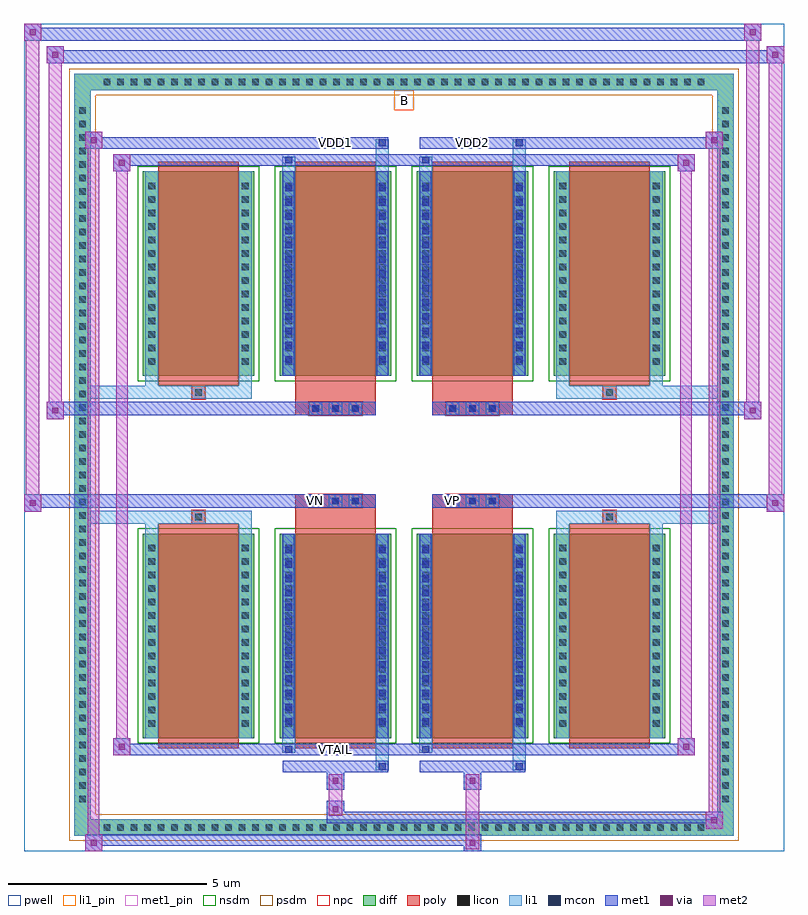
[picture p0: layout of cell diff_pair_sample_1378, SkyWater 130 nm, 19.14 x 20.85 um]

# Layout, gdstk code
import gdstk
lib = gdstk.Library(unit=1e-6, precision=5e-09)
def R(c, l, rs):  # rectangles x0, y0, x1, y1
    for r in rs: c.add(gdstk.rectangle(r[:2], r[2:], *l))
def A(c, l, x, y, w, h, nx, ny, dx, dy):  # array of equal rectangles
    R(c, l, [(x+i*dx, y+j*dy, x+i*dx+w, y+j*dy+h) for i in range(nx) for j in range(ny)])
def P(c, l, *ps):  # polygons
    for p in ps: c.add(gdstk.Polygon(p, *l))
pwell = (64, 44)
diff = (65, 20)
poly = (66, 20)
licon = (66, 44)
li1_pin = (67, 16)
li1 = (67, 20)
mcon = (67, 44)
met1_pin = (68, 16)
met1 = (68, 20)
via = (68, 44)
met2 = (69, 20)
nsdm = (93, 44)
psdm = (94, 20)
npc = (95, 20)

diff_pair_sample_1378 = lib.new_cell('diff_pair_sample_1378')
R(diff_pair_sample_1378, pwell, [(-9.57,-9.99,9.57,10.86), (-6.89,-8.18,-0.01,-0.8), (0.01,-8.18,6.89,-0.8), (-6.89,0.8,-0.01,8.18), (0.01,0.8,6.89,8.18)])
A(diff_pair_sample_1378, diff, -7.685, -9.59, 0.41, 0.41, 45, 2, 0.34, 18.77)
A(diff_pair_sample_1378, diff, -8.3, -8.875, 0.41, 0.41, 1, 52, 0, 0.34)
A(diff_pair_sample_1378, diff, 7.89, -8.875, 0.41, 0.41, 1, 52, 0, 0.34)
A(diff_pair_sample_1378, diff, -6.58, -7.135, 2.81, 5.15, 4, 2, 3.45, 9.12)
R(diff_pair_sample_1378, diff, [(-7.685,-9.59,7.685,-9.18), (-8.3,-8.875,-7.89,8.875), (7.89,-8.875,8.3,8.875), (-7.685,9.18,7.685,9.59)])
P(diff_pair_sample_1378, diff, [(8.3,9.59),(-8.3,9.59),(-8.3,-9.18),(-7.89,-9.18),(-7.89,9.18),(7.89,9.18),(7.89,-9.18),(-7.89,-9.18),(-8.3,-9.18),(-8.3,-9.59),(8.3,-9.59)])
A(diff_pair_sample_1378, poly, -6.19, -7.385, 2.03, 5.65, 4, 2, 3.45, 9.12)
A(diff_pair_sample_1378, poly, -2.39, -1.33, 0.33, 0.33, 3, 2, 0.5, 2.33)
A(diff_pair_sample_1378, poly, 1.06, -1.33, 0.33, 0.33, 3, 2, 0.5, 2.33)
R(diff_pair_sample_1378, poly, [(-5.34,-1.735,-5.01,-1.405), (-5.34,-1.735,-5.01,-1.405), (-2.74,-1.735,-0.71,-1.33), (0.71,-1.735,2.74,-1.33), (5.01,-1.735,5.34,-1.405), (5.01,-1.735,5.34,-1.405), (-2.74,-1.33,-0.71,-1), (0.71,-1.33,2.74,-1), (-2.74,1,-0.71,1.33), (0.71,1,2.74,1.33), (-2.74,1.33,-0.71,1.735), (0.71,1.33,2.74,1.735), (-5.34,1.405,-5.01,1.735), (-5.34,1.405,-5.01,1.735), (5.01,1.405,5.34,1.735), (5.01,1.405,5.34,1.735)])
A(diff_pair_sample_1378, licon, -7.565, -9.47, 0.17, 0.17, 45, 2, 0.34, 18.77)
A(diff_pair_sample_1378, licon, -8.18, -8.755, 0.17, 0.17, 1, 52, 0, 0.34)
A(diff_pair_sample_1378, licon, 8.01, -8.755, 0.17, 0.17, 1, 52, 0, 0.34)
A(diff_pair_sample_1378, licon, -6.44, -6.855, 0.17, 0.17, 1, 14, 0, 0.34)
A(diff_pair_sample_1378, licon, -4.08, -6.855, 0.17, 0.17, 1, 14, 0, 0.34)
A(diff_pair_sample_1378, licon, -2.99, -6.855, 0.17, 0.17, 1, 14, 0, 0.34)
A(diff_pair_sample_1378, licon, -0.63, -6.855, 0.17, 0.17, 1, 14, 0, 0.34)
A(diff_pair_sample_1378, licon, 0.46, -6.855, 0.17, 0.17, 1, 14, 0, 0.34)
A(diff_pair_sample_1378, licon, 2.82, -6.855, 0.17, 0.17, 1, 14, 0, 0.34)
A(diff_pair_sample_1378, licon, 3.91, -6.855, 0.17, 0.17, 1, 14, 0, 0.34)
A(diff_pair_sample_1378, licon, 6.27, -6.855, 0.17, 0.17, 1, 14, 0, 0.34)
A(diff_pair_sample_1378, licon, -2.31, -1.25, 0.17, 0.17, 3, 2, 0.5, 2.33)
A(diff_pair_sample_1378, licon, 1.14, -1.25, 0.17, 0.17, 3, 2, 0.5, 2.33)
A(diff_pair_sample_1378, licon, -6.44, 2.265, 0.17, 0.17, 1, 14, 0, 0.34)
A(diff_pair_sample_1378, licon, -4.08, 2.265, 0.17, 0.17, 1, 14, 0, 0.34)
A(diff_pair_sample_1378, licon, -2.99, 2.265, 0.17, 0.17, 1, 14, 0, 0.34)
A(diff_pair_sample_1378, licon, -0.63, 2.265, 0.17, 0.17, 1, 14, 0, 0.34)
A(diff_pair_sample_1378, licon, 0.46, 2.265, 0.17, 0.17, 1, 14, 0, 0.34)
A(diff_pair_sample_1378, licon, 2.82, 2.265, 0.17, 0.17, 1, 14, 0, 0.34)
A(diff_pair_sample_1378, licon, 3.91, 2.265, 0.17, 0.17, 1, 14, 0, 0.34)
A(diff_pair_sample_1378, licon, 6.27, 2.265, 0.17, 0.17, 1, 14, 0, 0.34)
R(diff_pair_sample_1378, licon, [(-5.26,-1.655,-5.09,-1.485), (5.09,-1.655,5.26,-1.485), (-5.26,1.485,-5.09,1.655), (5.09,1.485,5.26,1.655)])
R(diff_pair_sample_1378, li1_pin, [(-0.25,8.68,0.25,9.18)])
A(diff_pair_sample_1378, li1, -7.645, -9.55, 0.33, 0.33, 45, 2, 0.34, 18.77)
A(diff_pair_sample_1378, li1, -8.26, -8.835, 0.33, 0.33, 1, 52, 0, 0.34)
A(diff_pair_sample_1378, li1, 7.93, -8.835, 0.33, 0.33, 1, 52, 0, 0.34)
A(diff_pair_sample_1378, li1, -6.52, -6.935, 0.33, 0.33, 1, 14, 0, 0.34)
A(diff_pair_sample_1378, li1, -4.16, -6.935, 0.33, 0.33, 1, 14, 0, 0.34)
A(diff_pair_sample_1378, li1, -3.07, -6.935, 0.33, 0.33, 1, 14, 0, 0.34)
A(diff_pair_sample_1378, li1, -0.71, -6.935, 0.33, 0.33, 1, 14, 0, 0.34)
A(diff_pair_sample_1378, li1, 0.38, -6.935, 0.33, 0.33, 1, 14, 0, 0.34)
A(diff_pair_sample_1378, li1, 2.74, -6.935, 0.33, 0.33, 1, 14, 0, 0.34)
A(diff_pair_sample_1378, li1, 3.83, -6.935, 0.33, 0.33, 1, 14, 0, 0.34)
A(diff_pair_sample_1378, li1, 6.19, -6.935, 0.33, 0.33, 1, 14, 0, 0.34)
A(diff_pair_sample_1378, li1, -2.99, -6.805, 0.17, 0.17, 1, 13, 0, 0.36)
A(diff_pair_sample_1378, li1, -0.63, -6.805, 0.17, 0.17, 1, 13, 0, 0.36)
A(diff_pair_sample_1378, li1, 0.46, -6.805, 0.17, 0.17, 1, 13, 0, 0.36)
A(diff_pair_sample_1378, li1, 2.82, -6.805, 0.17, 0.17, 1, 13, 0, 0.36)
A(diff_pair_sample_1378, li1, -2.39, -1.33, 0.33, 0.33, 3, 2, 0.5, 2.33)
A(diff_pair_sample_1378, li1, 1.06, -1.33, 0.33, 0.33, 3, 2, 0.5, 2.33)
A(diff_pair_sample_1378, li1, -6.52, 2.185, 0.33, 0.33, 1, 14, 0, 0.34)
A(diff_pair_sample_1378, li1, -4.16, 2.185, 0.33, 0.33, 1, 14, 0, 0.34)
A(diff_pair_sample_1378, li1, -3.07, 2.185, 0.33, 0.33, 1, 14, 0, 0.34)
A(diff_pair_sample_1378, li1, -0.71, 2.185, 0.33, 0.33, 1, 14, 0, 0.34)
A(diff_pair_sample_1378, li1, 0.38, 2.185, 0.33, 0.33, 1, 14, 0, 0.34)
A(diff_pair_sample_1378, li1, 2.74, 2.185, 0.33, 0.33, 1, 14, 0, 0.34)
A(diff_pair_sample_1378, li1, 3.83, 2.185, 0.33, 0.33, 1, 14, 0, 0.34)
A(diff_pair_sample_1378, li1, 6.19, 2.185, 0.33, 0.33, 1, 14, 0, 0.34)
A(diff_pair_sample_1378, li1, -2.99, 2.315, 0.17, 0.17, 1, 13, 0, 0.36)
A(diff_pair_sample_1378, li1, -0.63, 2.315, 0.17, 0.17, 1, 13, 0, 0.36)
A(diff_pair_sample_1378, li1, 0.46, 2.315, 0.17, 0.17, 1, 13, 0, 0.36)
A(diff_pair_sample_1378, li1, 2.82, 2.315, 0.17, 0.17, 1, 13, 0, 0.36)
R(diff_pair_sample_1378, li1, [(-8.3,-9.59,-7.89,-9.18), (-8.3,-9.59,-7.89,-9.18), (-7.89,-9.59,7.89,-9.18), (7.89,-9.59,8.3,-9.18), (7.89,-9.59,8.3,-9.18), (-8.3,-9.18,-7.89,9.18), (7.89,-9.18,8.3,9.18), (-0.71,-7.94,-0.38,-7.135), (-0.63,-7.94,-0.46,-7.77), (2.74,-7.94,3.07,-7.135), (2.82,-7.94,2.99,-7.77), (-3.07,-7.51,-2.74,-7.135), (-2.99,-7.51,-2.82,-7.34), (0.38,-7.51,0.71,-7.135), (0.46,-7.51,0.63,-7.34), (-6.52,-7.135,-6.19,-1.985), (-4.16,-7.135,-3.83,-1.985), (-3.07,-7.135,-2.74,-1.985), (-0.71,-7.135,-0.38,-1.985), (0.38,-7.135,0.71,-1.985), (2.74,-7.135,3.07,-1.985), (3.83,-7.135,4.16,-1.985), (6.19,-7.135,6.52,-1.985), (-2.99,-6.805,-2.82,-2.315), (-0.63,-6.805,-0.46,-2.315), (0.46,-6.805,0.63,-2.315), (2.82,-6.805,2.99,-2.315), (-6.52,-1.985,-6.19,-1.405), (-4.16,-1.985,-3.83,-1.405), (3.83,-1.985,4.16,-1.405), (6.19,-1.985,6.52,-1.405), (-8.3,-1.735,-5.34,-1.405), (-6.52,-1.735,-5.34,-1.405), (-5.34,-1.735,-5.01,-1.405), (-5.01,-1.735,-3.83,-1.405), (3.83,-1.735,5.01,-1.405), (5.01,-1.735,5.34,-1.405), (5.01,-1.735,8.3,-1.405), (5.34,-1.735,6.52,-1.405), (-8.3,1.405,-5.34,1.735), (-6.52,1.405,-5.34,1.735), (-6.52,1.405,-6.19,1.985), (-5.34,1.405,-5.01,1.735), (-5.01,1.405,-3.83,1.735), (-4.16,1.405,-3.83,1.985), (3.83,1.405,5.01,1.735), (3.83,1.405,4.16,1.985), (5.01,1.405,5.34,1.735), (5.01,1.405,8.3,1.735), (5.34,1.405,6.52,1.735), (6.19,1.405,6.52,1.985), (-6.52,1.985,-6.19,7.135), (-4.16,1.985,-3.83,7.135), (-3.07,1.985,-2.74,7.135), (-0.71,1.985,-0.38,7.135), (0.38,1.985,0.71,7.135), (2.74,1.985,3.07,7.135), (3.83,1.985,4.16,7.135), (6.19,1.985,6.52,7.135), (-2.99,2.315,-2.82,6.805), (-0.63,2.315,-0.46,6.805), (0.46,2.315,0.63,6.805), (2.82,2.315,2.99,6.805), (-3.07,7.135,-2.74,7.51), (-0.71,7.135,-0.38,7.94), (0.38,7.135,0.71,7.51), (2.74,7.135,3.07,7.94), (-2.99,7.34,-2.82,7.51), (0.46,7.34,0.63,7.51), (-0.63,7.77,-0.46,7.94), (2.82,7.77,2.99,7.94), (-8.3,9.18,-7.89,9.59), (-8.3,9.18,-7.89,9.59), (-7.89,9.18,7.89,9.59), (7.89,9.18,8.3,9.59), (7.89,9.18,8.3,9.59)])
A(diff_pair_sample_1378, mcon, -2.99, -6.805, 0.17, 0.17, 1, 13, 0, 0.36)
A(diff_pair_sample_1378, mcon, -0.63, -6.805, 0.17, 0.17, 1, 13, 0, 0.36)
A(diff_pair_sample_1378, mcon, 0.46, -6.805, 0.17, 0.17, 1, 13, 0, 0.36)
A(diff_pair_sample_1378, mcon, 2.82, -6.805, 0.17, 0.17, 1, 13, 0, 0.36)
A(diff_pair_sample_1378, mcon, -2.31, -1.25, 0.17, 0.17, 3, 2, 0.5, 2.33)
A(diff_pair_sample_1378, mcon, 1.14, -1.25, 0.17, 0.17, 3, 2, 0.5, 2.33)
A(diff_pair_sample_1378, mcon, -2.99, 2.315, 0.17, 0.17, 1, 13, 0, 0.36)
A(diff_pair_sample_1378, mcon, -0.63, 2.315, 0.17, 0.17, 1, 13, 0, 0.36)
A(diff_pair_sample_1378, mcon, 0.46, 2.315, 0.17, 0.17, 1, 13, 0, 0.36)
A(diff_pair_sample_1378, mcon, 2.82, 2.315, 0.17, 0.17, 1, 13, 0, 0.36)
R(diff_pair_sample_1378, mcon, [(-0.63,-7.94,-0.46,-7.77), (2.82,-7.94,2.99,-7.77), (-2.99,-7.51,-2.82,-7.34), (0.46,-7.51,0.63,-7.34), (-2.99,7.34,-2.82,7.51), (0.46,7.34,0.63,7.51), (-0.63,7.77,-0.46,7.94), (2.82,7.77,2.99,7.94)])
R(diff_pair_sample_1378, met1_pin, [(-1.86,-7.55,-1.59,-7.28), (-2.36,-1.29,-2.09,-1.02), (1.09,-1.29,1.36,-1.02), (-1.86,7.73,-1.59,8), (1.59,7.73,1.86,8)])
A(diff_pair_sample_1378, met1, -3.05, -6.865, 0.29, 0.29, 1, 13, 0, 0.36)
A(diff_pair_sample_1378, met1, -0.69, -6.865, 0.29, 0.29, 1, 13, 0, 0.36)
A(diff_pair_sample_1378, met1, 0.4, -6.865, 0.29, 0.29, 1, 13, 0, 0.36)
A(diff_pair_sample_1378, met1, 2.76, -6.865, 0.29, 0.29, 1, 13, 0, 0.36)
A(diff_pair_sample_1378, met1, -2.37, -1.31, 0.29, 0.29, 3, 2, 0.5, 2.33)
A(diff_pair_sample_1378, met1, 1.08, -1.31, 0.29, 0.29, 3, 2, 0.5, 2.33)
A(diff_pair_sample_1378, met1, -3.05, 2.255, 0.29, 0.29, 1, 13, 0, 0.36)
A(diff_pair_sample_1378, met1, -0.69, 2.255, 0.29, 0.29, 1, 13, 0, 0.36)
A(diff_pair_sample_1378, met1, 0.4, 2.255, 0.29, 0.29, 1, 13, 0, 0.36)
A(diff_pair_sample_1378, met1, 2.76, 2.255, 0.29, 0.29, 1, 13, 0, 0.36)
R(diff_pair_sample_1378, met1, [(-8.03,-9.99,-7.6,-9.56), (1.51,-9.99,1.94,-9.56), (-8.03,-9.85,1.94,-9.56), (7.6,-9.42,8.03,-8.99), (-1.94,-9.28,8.03,-8.99), (-1.94,-9.14,-1.51,-8.71), (-1.94,-8.43,-1.51,-8), (1.51,-8.43,1.94,-8), (-3.05,-8,-0.4,-7.71), (-0.69,-8,-0.4,-7.71), (0.4,-8,3.05,-7.71), (2.76,-8,3.05,-7.71), (-7.32,-7.57,-6.89,-7.14), (-7.32,-7.57,-3.05,-7.28), (-3.05,-7.57,-2.76,-7.28), (-3.05,-7.57,-0.4,-7.28), (-0.4,-7.57,0.4,-7.28), (0.4,-7.57,0.69,-7.28), (0.4,-7.57,3.05,-7.28), (3.05,-7.57,7.32,-7.28), (6.89,-7.57,7.32,-7.14), (-3.05,-7.135,-2.76,-1.985), (-0.69,-7.135,-0.4,-1.985), (0.4,-7.135,0.69,-1.985), (2.76,-7.135,3.05,-1.985), (-9.57,-1.43,-9.14,-1), (9.14,-1.43,9.57,-1), (-9.57,-1.33,-0.71,-1), (-2.74,-1.33,-0.71,-1), (0.71,-1.33,2.74,-1), (0.71,-1.33,9.57,-1), (-9,0.9,-8.57,1.33), (8.57,0.9,9,1.33), (-9,1,-2.74,1.33), (-2.74,1,-0.71,1.33), (0.71,1,2.74,1.33), (2.74,1,9,1.33), (-3.05,1.985,-2.76,7.135), (-0.69,1.985,-0.4,7.135), (0.4,1.985,0.69,7.135), (2.76,1.985,3.05,7.135), (-7.32,7.14,-6.89,7.57), (6.89,7.14,7.32,7.57), (-7.32,7.28,-3.05,7.57), (-3.05,7.28,-2.76,7.57), (-3.05,7.28,-0.4,7.57), (-0.4,7.28,0.4,7.57), (0.4,7.28,0.69,7.57), (0.4,7.28,3.05,7.57), (3.05,7.28,7.32,7.57), (-8.03,7.71,-7.6,8.14), (-8.03,7.71,-3.05,8), (-3.05,7.71,-0.4,8), (-0.69,7.71,-0.4,8), (0.4,7.71,3.05,8), (2.76,7.71,3.05,8), (3.05,7.71,8.03,8), (7.6,7.71,8.03,8.14), (-9,9.86,-8.57,10.29), (-9,9.86,-6.89,10.19), (-6.89,9.86,6.89,10.19), (6.89,9.86,9.57,10.19), (9.14,9.86,9.57,10.29), (-9.57,10.43,-9.14,10.86), (-9.57,10.43,-6.89,10.76), (-6.89,10.43,6.89,10.76), (6.89,10.43,9,10.76), (8.57,10.43,9,10.86)])
R(diff_pair_sample_1378, via, [(-7.89,-9.85,-7.74,-9.7), (1.65,-9.85,1.8,-9.7), (7.74,-9.28,7.89,-9.13), (-1.8,-9,-1.65,-8.85), (-1.8,-8.29,-1.65,-8.14), (1.65,-8.29,1.8,-8.14), (-7.18,-7.43,-7.03,-7.28), (7.03,-7.43,7.18,-7.28), (-9.43,-1.29,-9.28,-1.14), (9.28,-1.29,9.43,-1.14), (-8.86,1.04,-8.71,1.19), (8.71,1.04,8.86,1.19), (-7.18,7.28,-7.03,7.43), (7.03,7.28,7.18,7.43), (-7.89,7.85,-7.74,8), (7.74,7.85,7.89,8), (-8.86,10,-8.71,10.15), (9.28,10,9.43,10.15), (-9.43,10.57,-9.28,10.72), (8.71,10.57,8.86,10.72)])
R(diff_pair_sample_1378, met2, [(-8.03,-9.99,-7.6,-9.56), (-7.96,-9.99,-7.67,8.14), (-7.67,-9.99,-7.6,-9.56), (-7.98,-9.94,-7.65,-9.61), (1.56,-9.94,1.89,-9.61), (1.56,-9.61,1.89,-8.38), (7.6,-9.42,8.03,-8.99), (7.67,-9.42,7.96,8.14), (7.96,-9.42,8.03,-8.99), (7.65,-9.37,7.98,-9.04), (-1.89,-9.09,-1.56,-8.76), (-1.89,-8.76,-1.56,-8.38), (-1.89,-8.38,-1.56,-8.05), (1.56,-8.38,1.89,-8.05), (-7.32,-7.57,-6.89,-7.14), (-7.25,-7.57,-6.96,7.57), (-6.96,-7.57,-6.89,-7.14), (6.89,-7.57,7.32,-7.14), (6.96,-7.57,7.25,7.57), (7.25,-7.57,7.32,-7.14), (-7.27,-7.52,-6.94,-7.19), (6.94,-7.52,7.27,-7.19), (-9.57,-1.43,-9.14,-1), (-9.52,-1.43,-9.19,10.86), (-9.19,-1.43,-9.14,-1), (9.14,-1.43,9.57,-1), (9.19,-1.43,9.52,10.29), (9.52,-1.43,9.57,-1), (-9.52,-1.38,-9.19,-1.05), (9.19,-1.38,9.52,-1.05), (-9,0.9,-8.57,1.33), (-8.95,0.9,-8.62,10.29), (-8.62,0.9,-8.57,1.33), (8.57,0.9,9,1.33), (8.62,0.9,8.95,10.86), (8.95,0.9,9,1.33), (-8.95,0.95,-8.62,1.28), (8.62,0.95,8.95,1.28), (-7.32,7.14,-6.89,7.57), (-6.96,7.14,-6.89,7.57), (6.89,7.14,7.32,7.57), (7.25,7.14,7.32,7.57), (-7.27,7.19,-6.94,7.52), (6.94,7.19,7.27,7.52), (-8.03,7.71,-7.6,8.14), (-7.67,7.71,-7.6,8.14), (7.6,7.71,8.03,8.14), (7.96,7.71,8.03,8.14), (-7.98,7.76,-7.65,8.09), (7.65,7.76,7.98,8.09), (-9,9.86,-8.57,10.29), (-8.62,9.86,-8.57,10.29), (9.14,9.86,9.57,10.29), (9.52,9.86,9.57,10.29), (-8.95,9.91,-8.62,10.24), (9.19,9.91,9.52,10.24), (-9.57,10.43,-9.14,10.86), (-9.19,10.43,-9.14,10.86), (8.57,10.43,9,10.86), (8.95,10.43,9,10.86), (-9.52,10.48,-9.19,10.81), (8.62,10.48,8.95,10.81)])
A(diff_pair_sample_1378, nsdm, -6.71, -7.265, 3.07, 5.41, 4, 2, 3.45, 9.12)
P(diff_pair_sample_1378, psdm, [(8.43,9.72),(-8.43,9.72),(-8.43,-9.05),(-7.76,-9.05),(-7.76,9.05),(7.76,9.05),(7.76,-9.05),(-7.76,-9.05),(-8.43,-9.05),(-8.43,-9.72),(8.43,-9.72)])
A(diff_pair_sample_1378, npc, -2.41, -1.35, 0.37, 0.37, 3, 2, 0.5, 2.33)
A(diff_pair_sample_1378, npc, 1.04, -1.35, 0.37, 0.37, 3, 2, 0.5, 2.33)
R(diff_pair_sample_1378, npc, [(-5.36,-1.755,-4.99,-1.385), (4.99,-1.755,5.36,-1.385), (-2.41,-1.35,-1.54,-0.98), (-2.41,-1.35,-1.54,-0.98), (-1.91,-1.35,-1.04,-0.98), (-1.91,-1.35,-1.04,-0.98), (1.04,-1.35,1.91,-0.98), (1.04,-1.35,1.91,-0.98), (1.54,-1.35,2.41,-0.98), (1.54,-1.35,2.41,-0.98), (-2.41,0.98,-1.54,1.35), (-2.41,0.98,-1.54,1.35), (-1.91,0.98,-1.04,1.35), (-1.91,0.98,-1.04,1.35), (1.04,0.98,1.91,1.35), (1.04,0.98,1.91,1.35), (1.54,0.98,2.41,1.35), (1.54,0.98,2.41,1.35), (-5.36,1.385,-4.99,1.755), (4.99,1.385,5.36,1.755)])
diff_pair_sample_1378.add(gdstk.Label('VTAIL', (-1.725,-7.415), layer=68, texttype=5))
diff_pair_sample_1378.add(gdstk.Label('VN', (-2.225,-1.155), layer=68, texttype=5))
diff_pair_sample_1378.add(gdstk.Label('VP', (1.225,-1.155), layer=68, texttype=5))
diff_pair_sample_1378.add(gdstk.Label('B', (0,8.93), layer=67, texttype=5))
diff_pair_sample_1378.add(gdstk.Label('VDD2', (1.725,7.865), layer=68, texttype=5))
diff_pair_sample_1378.add(gdstk.Label('VDD1', (-1.725,7.865), layer=68, texttype=5))

lib.write_gds('diff_pair_sample_1378.gds')
